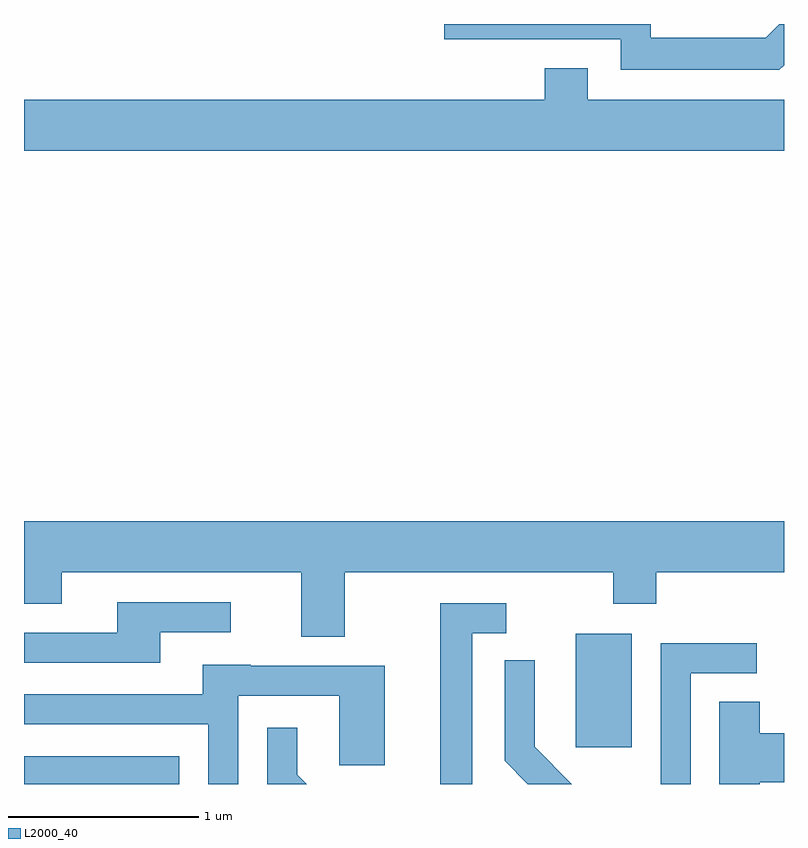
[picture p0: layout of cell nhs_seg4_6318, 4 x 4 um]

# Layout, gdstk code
import gdstk
lib = gdstk.Library(unit=1e-6, precision=1e-09)
def R(c, l, rs):  # rectangles x0, y0, x1, y1
    for r in rs: c.add(gdstk.rectangle(r[:2], r[2:], *l))
def P(c, l, *ps):  # polygons
    for p in ps: c.add(gdstk.Polygon(p, *l))
L2000_40 = (2000, 40)

nhs_seg4_6318 = lib.new_cell('nhs_seg4_6318')
R(nhs_seg4_6318, L2000_40, [(369.611,1377.982,370.429,1378.129), (372.516,1378.176,372.809,1378.774)])
P(nhs_seg4_6318, L2000_40, [(373.611,1381.765),(373.611,1381.982),(373.587,1381.982),(373.514,1381.909),(372.909,1381.909),(372.909,1381.982),(371.823,1381.982),(371.823,1381.901),(372.751,1381.901),(372.751,1381.741),(373.587,1381.741)],
  [(373.611,1381.584),(372.579,1381.584),(372.579,1381.749),(372.351,1381.749),(372.351,1381.584),(369.611,1381.584),(369.611,1381.316),(373.611,1381.316)],
  [(371.299,1379.096),(372.711,1379.096),(372.711,1378.931),(372.939,1378.931),(372.939,1379.096),(373.611,1379.096),(373.611,1379.364),(369.611,1379.364),(369.611,1378.931),(369.809,1378.931),(369.809,1379.096),(371.071,1379.096),(371.071,1378.756),(371.299,1378.756)],
  [(370.329,1378.781),(370.698,1378.781),(370.698,1378.939),(370.101,1378.939),(370.101,1378.779),(369.611,1378.779),(369.611,1378.621),(370.329,1378.621)],
  [(371.969,1378.776),(372.148,1378.776),(372.148,1378.934),(371.801,1378.934),(371.801,1377.982),(371.969,1377.982)],
  [(373.119,1378.566),(373.468,1378.566),(373.468,1378.724),(372.961,1378.724),(372.961,1377.982),(373.119,1377.982)],
  [(372.299,1378.177),(372.299,1378.633),(372.141,1378.633),(372.141,1378.104),(372.263,1377.982),(372.494,1377.982)],
  [(370.739,1378.446),(371.271,1378.446),(371.271,1378.081),(371.509,1378.081),(371.509,1378.604),(370.805,1378.604),(370.805,1378.609),(370.551,1378.609),(370.551,1378.454),(369.611,1378.454),(369.611,1378.296),(370.581,1378.296),(370.581,1377.982),(370.739,1377.982)],
  [(373.484,1377.991),(373.611,1377.991),(373.611,1378.249),(373.484,1378.249),(373.484,1378.414),(373.271,1378.414),(373.271,1377.982),(373.484,1377.982)],
  [(371.049,1378.032),(371.049,1378.278),(370.891,1378.278),(370.891,1377.982),(371.099,1377.982)])

lib.write_gds('nhs_seg4_6318.gds')
